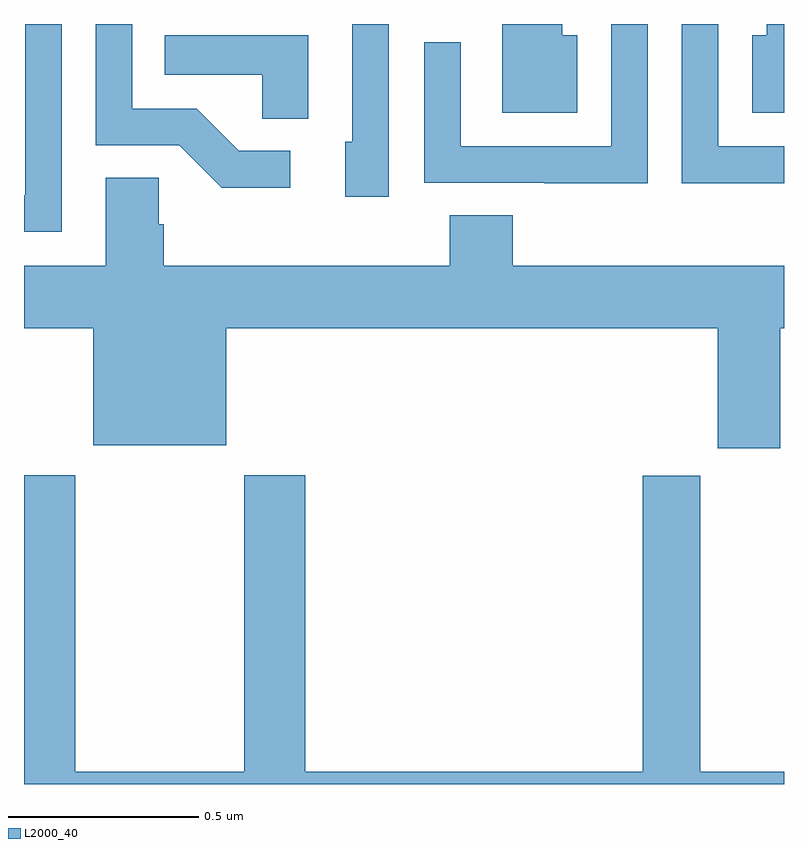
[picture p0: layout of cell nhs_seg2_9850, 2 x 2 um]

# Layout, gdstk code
import gdstk
lib = gdstk.Library(unit=1e-6, precision=1e-09)
def P(c, l, *ps):  # polygons
    for p in ps: c.add(gdstk.Polygon(p, *l))
L2000_40 = (2000, 40)

nhs_seg2_9850 = lib.new_cell('nhs_seg2_9850')
P(nhs_seg2_9850, L2000_40, [(236,617.478),(235.827,617.478),(235.827,617.8),(235.731,617.8),(235.731,617.381),(236,617.381)],
  [(236,617.8),(235.955,617.8),(235.955,617.77),(235.916,617.77),(235.916,617.567),(236,617.567)],
  [(235.456,617.77),(235.417,617.77),(235.417,617.8),(235.259,617.8),(235.259,617.567),(235.456,617.567)],
  [(235.641,617.8),(235.545,617.8),(235.545,617.478),(235.149,617.478),(235.149,617.752),(235.053,617.752),(235.053,617.382),(235.369,617.382),(235.369,617.381),(235.641,617.381)],
  [(234.099,617.8),(234.003,617.8),(234.003,617.349),(234,617.349),(234,617.253),(234.099,617.253)],
  [(234.96,617.8),(234.864,617.8),(234.864,617.49),(234.845,617.49),(234.845,617.346),(234.96,617.346)],
  [(234.7,617.466),(234.565,617.466),(234.454,617.577),(234.285,617.577),(234.285,617.8),(234.189,617.8),(234.189,617.481),(234.408,617.481),(234.521,617.369),(234.7,617.369)],
  [(234.748,617.77),(234.37,617.77),(234.37,617.666),(234.627,617.666),(234.627,617.551),(234.748,617.551)],
  [(235.99,617),(236,617),(236,617.164),(235.286,617.164),(235.286,617.297),(235.121,617.297),(235.121,617.164),(234.368,617.164),(234.368,617.273),(234.354,617.273),(234.354,617.396),(234.215,617.396),(234.215,617.164),(234,617.164),(234,617),(234.182,617),(234.182,616.691),(234.532,616.691),(234.532,617),(235.826,617),(235.826,616.683),(235.99,616.683)],
  [(236,615.832),(235.78,615.832),(235.78,616.611),(235.628,616.611),(235.628,615.832),(234.74,615.832),(234.74,616.612),(234.58,616.612),(234.58,615.832),(234.135,615.832),(234.135,616.612),(234,616.612),(234,615.8),(236,615.8)])

lib.write_gds('nhs_seg2_9850.gds')
